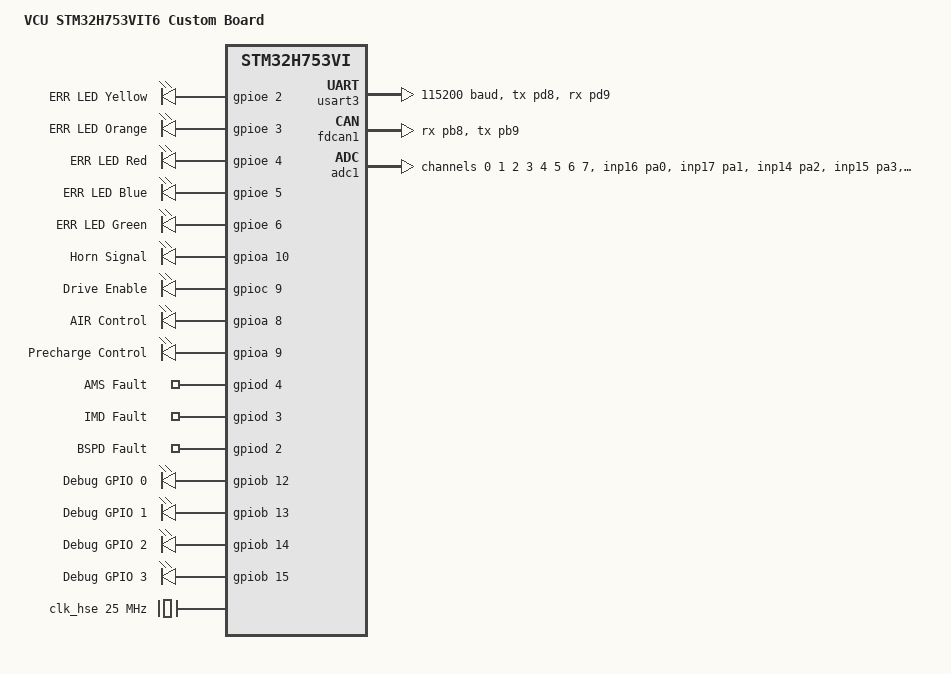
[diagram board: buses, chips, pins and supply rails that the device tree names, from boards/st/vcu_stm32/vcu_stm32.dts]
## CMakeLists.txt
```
# SPDX-License-Identifier: Apache-2.0
cmake_minimum_required(VERSION 3.20.0)

#generates compile_commands.json for clangd to LSP correctly. 
set(CMAKE_EXPORT_COMPILE_COMMANDS ON)

set_source_files_properties(src/*.cpp PROPERTIES LANGUAGE CXX)

set(BOARD_ROOT ${CMAKE_CURRENT_SOURCE_DIR})


find_package(Zephyr REQUIRED HINTS $ENV{ZEPHYR_BASE})
project(vcu)

# Add include/ directory to include paths
target_include_directories(app PRIVATE
    ${CMAKE_CURRENT_SOURCE_DIR}/include
)

# Gather all C and C++ source files under src/
file(GLOB_RECURSE APP_SOURCES
    ${CMAKE_CURRENT_SOURCE_DIR}/src/*.c
    ${CMAKE_CURRENT_SOURCE_DIR}/src/*.cpp
)

# Add sources to app target
target_sources(app PRIVATE ${APP_SOURCES})
```

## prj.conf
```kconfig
CONFIG_CAN=y
CONFIG_GPIO=y
CONFIG_ADC=y
CONFIG_LOG=y
CONFIG_LOG_MODE_IMMEDIATE=y
CONFIG_LOG_DEFAULT_LEVEL=3
CONFIG_LOG_BACKEND_FORMAT_TIMESTAMP=y
CONFIG_LOG_BACKEND_SHOW_COLOR=y
CONFIG_MAIN_STACK_SIZE=8192


CONFIG_CBPRINTF_FP_SUPPORT=y

CONFIG_CPP=y
CONFIG_STD_CPP2B=y
CONFIG_CPP_EXCEPTIONS=y
CONFIG_GLIBCXX_LIBCPP=y
CONFIG_REQUIRES_FULL_LIBCPP=y
CONFIG_CAN_STATS=y

# Keep your custom compiler flag:
CONFIG_COMPILER_OPT="-ftrack-macro-expansion=0"
CONFIG_THREAD_MONITOR=y
CONFIG_THREAD_STACK_INFO=y
CONFIG_HEAP_MEM_POOL_SIZE=16384
CONFIG_SYSTEM_WORKQUEUE_STACK_SIZE=2048
CONFIG_SYS_HEAP_RUNTIME_STATS=y
CONFIG_PRINTK=y  

CONFIG_THREAD_RUNTIME_STATS=y
CONFIG_DEBUG_OPTIMIZATIONS=y

CONFIG_SCHED_THREAD_USAGE=y
CONFIG_CPU_LOAD=y
CONFIG_STATS=y
CONFIG_REBOOT=y
CONFIG_ASSERT=y
CONFIG_ASSERT_LEVEL=2



# threading
CONFIG_MULTITHREADING=y 
CONFIG_NUM_COOP_PRIORITIES=127
CONFIG_NUM_PREEMPT_PRIORITIES=127
CONFIG_SCHED_SCALABLE=y


# CONFIG_SEGGER_SYSTEMVIEW=y
# CONFIG_TRACING=y
# # start tracing immediately on boot
# CONFIG_SEGGER_SYSTEMVIEW_BOOT_ENABLE=y  
# CONFIG_USE_SEGGER_RTT=y

# # Optional but useful

# # shows thread names instead of addresses
# CONFIG_THREAD_NAME=y   
# CONFIG_LOG_BACKEND_UART=n         
```

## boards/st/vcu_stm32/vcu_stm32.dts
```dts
/*
 * Copyright (c) 2025 VCU Team
 * SPDX-License-Identifier: Apache-2.0
 */

/dts-v1/;
#include <st/h7/stm32h753Xi.dtsi>
#include <st/h7/stm32h753zitx-pinctrl.dtsi>
#include <zephyr/dt-bindings/input/input-event-codes.h>

/ {
	model = "VCU STM32H753VIT6 Custom Board";
	compatible = "st,stm32h753vi";

	chosen {
		zephyr,console = &usart3;
		zephyr,shell-uart = &usart3;
		zephyr,sram = &sram0;
		zephyr,flash = &flash0;
		zephyr,dtcm = &dtcm;
		zephyr,canbus = &fdcan1;
	};

	leds {
		compatible = "gpio-leds";
		err_led_yellow: led_0 {
			gpios = <&gpioe 2 GPIO_ACTIVE_HIGH>;
			label = "ERR LED Yellow";
		};
		err_led_orange: led_1 {
			gpios = <&gpioe 3 GPIO_ACTIVE_HIGH>;
			label = "ERR LED Orange";
		};
		err_led_red: led_2 {
			gpios = <&gpioe 4 GPIO_ACTIVE_HIGH>;
			label = "ERR LED Red";
		};
		err_led_blue: led_3 {
			gpios = <&gpioe 5 GPIO_ACTIVE_HIGH>;
			label = "ERR LED Blue";
		};
		err_led_green: led_4 {
			gpios = <&gpioe 6 GPIO_ACTIVE_HIGH>;
			label = "ERR LED Green";
		};
	};

	vcu_signals {
		compatible = "gpio-leds";
		horn_signal: horn_sig {
			gpios = <&gpioa 10 GPIO_ACTIVE_HIGH>;
			label = "Horn Signal";
		};
		drive_enable: drive_en {
			gpios = <&gpioc 9 GPIO_ACTIVE_HIGH>;
			label = "Drive Enable";
		};
		air_ctrl: air_control {
			gpios = <&gpioa 8 GPIO_ACTIVE_HIGH>;
			label = "AIR Control";
		};
		prc_ctrl: prc_control {
			gpios = <&gpioa 9 GPIO_ACTIVE_HIGH>;
			label = "Precharge Control";
		};
	};

	fault_inputs {
		compatible = "gpio-keys";
		ams_fault: ams_fault_mcu {
			gpios = <&gpiod 4 GPIO_ACTIVE_HIGH>;
			label = "AMS Fault";
		};
		imd_fault: imd_fault_mcu {
			gpios = <&gpiod 3 GPIO_ACTIVE_HIGH>;
			label = "IMD Fault";
		};
		bspd_fault: bspd_fault_mcu {
			gpios = <&gpiod 2 GPIO_ACTIVE_HIGH>;
			label = "BSPD Fault";
		};
	};

	debug_gpios {
		compatible = "gpio-leds";
		debug_gpio_0: dbg_gpio_0 {
			gpios = <&gpiob 12 GPIO_ACTIVE_HIGH>;
			label = "Debug GPIO 0";
		};
		debug_gpio_1: dbg_gpio_1 {
			gpios = <&gpiob 13 GPIO_ACTIVE_HIGH>;
			label = "Debug GPIO 1";
		};
		debug_gpio_2: dbg_gpio_2 {
			gpios = <&gpiob 14 GPIO_ACTIVE_HIGH>;
			label = "Debug GPIO 2";
		};
		debug_gpio_3: dbg_gpio_3 {
			gpios = <&gpiob 15 GPIO_ACTIVE_HIGH>;
			label = "Debug GPIO 3";
		};
	};

	aliases {
		led0 = &err_led_yellow;
		led1 = &err_led_orange;
		led2 = &err_led_red;
		led3 = &err_led_blue;
		led4 = &err_led_green;
		horn = &horn_signal;
		drive-enable = &drive_enable;
		air-ctrl = &air_ctrl;
		prc-ctrl = &prc_ctrl;
	};
};

&clk_hse {
	clock-frequency = <DT_FREQ_M(25)>;  // 25 MHz crystal
	status = "okay";
};

&pll {
    div-m = <5>;      // 25 MHz / 5 = 5 MHz
    mul-n = <192>;    // 5 MHz × 192 = 960 MHz VCO
    div-p = <2>;      // 960 / 2 = 480 MHz
    div-q = <2>;      // 960 / 2 = 480 MHz
    div-r = <2>;      // 960 / 2 = 480 MHz
    clocks = <&clk_hse>;
    status = "okay";
};

&pll2 {
    div-m = <5>;      // 25 MHz / 5 = 5 MHz
    mul-n = <48>;     // 5 MHz × 48 = 240 MHz VCO
    div-p = <2>;      // 240 / 2 = 120 MHz
    div-q = <3>;      // 240 / 3 = 80 MHz (for FDCAN)
    div-r = <2>;      // 240 / 2 = 120 MHz
    clocks = <&clk_hse>;
    status = "okay";
};

&rcc {
    clocks = <&pll>;
    clock-frequency = <DT_FREQ_M(480)>;
    d1cpre = <1>;
    hpre = <2>;
    d1ppre = <2>;
    d2ppre1 = <2>;
    d2ppre2 = <2>;
    d3ppre = <2>;
};

/* Enable GPIO ports */
&gpioa {
	status = "okay";
};

&gpiob {
	status = "okay";
};

&gpioc {
	status = "okay";
};

&gpiod {
	status = "okay";
};

&gpioe {
	status = "okay";
};

&usart3 {
	pinctrl-0 = <&usart3_tx_pd8 &usart3_rx_pd9>;
	pinctrl-names = "default";
	current-speed = <115200>;
	status = "okay";
};

&fdcan1 {
	clocks = <&rcc STM32_CLOCK_BUS_APB1_2 0x00000100>,
		 <&rcc STM32_SRC_PLL2_Q FDCAN_SEL(2)>;
	pinctrl-0 = <&fdcan1_rx_pb8 &fdcan1_tx_pb9>;
	pinctrl-names = "default";
	status = "okay";
};

&fdcan2 {
	clocks = <&rcc STM32_CLOCK_BUS_APB1_2 0x00000200>,
		 <&rcc STM32_SRC_PLL2_Q FDCAN_SEL(2)>;
	pinctrl-0 = <&fdcan2_rx_pb5 &fdcan2_tx_pb6>;
	pinctrl-names = "default";
	status = "disabled";
};

&adc1 {
	pinctrl-0 = <&adc1_inp16_pa0 &adc1_inp17_pa1 
	             &adc1_inp14_pa2 &adc1_inp15_pa3
	             &adc1_inp18_pa4 &adc1_inp19_pa5
	             &adc1_inp3_pa6 &adc1_inp7_pa7>;
	pinctrl-names = "default";
	st,adc-clock-source = "SYNC";
	st,adc-prescaler = <4>;
	vref-mv = <3300>;
	status = "okay";

	#address-cells = <1>;
	#size-cells = <0>;

	channel@0 {
		reg = <0>;
		zephyr,gain = "ADC_GAIN_1";
		zephyr,reference = "ADC_REF_VDD_1";
		zephyr,acquisition-time = <ADC_ACQ_TIME_DEFAULT>;
		zephyr,resolution = <12>;
		zephyr,input-positive = <16>;  /* PA0 - INP16 */
	};

	channel@1 {
		reg = <1>;
		zephyr,gain = "ADC_GAIN_1";
		zephyr,reference = "ADC_REF_VDD_1";
		zephyr,acquisition-time = <ADC_ACQ_TIME_DEFAULT>;
		zephyr,resolution = <12>;
		zephyr,input-positive = <17>;  /* PA1 - INP17 */
	};

	channel@2 {
		reg = <2>;
		zephyr,gain = "ADC_GAIN_1";
		zephyr,reference = "ADC_REF_VDD_1";
		zephyr,acquisition-time = <ADC_ACQ_TIME_DEFAULT>;
		zephyr,resolution = <12>;
		zephyr,input-positive = <14>;  /* PA2 - INP14 */
	};

	channel@3 {
		reg = <3>;
		zephyr,gain = "ADC_GAIN_1";
		zephyr,reference = "ADC_REF_VDD_1";
		zephyr,acquisition-time = <ADC_ACQ_TIME_DEFAULT>;
		zephyr,resolution = <12>;
		zephyr,input-positive = <15>;  /* PA3 - INP15 */
	};

	channel@4 {
		reg = <4>;
		zephyr,gain = "ADC_GAIN_1";
		zephyr,reference = "ADC_REF_VDD_1";
		zephyr,acquisition-time = <ADC_ACQ_TIME_DEFAULT>;
		zephyr,resolution = <12>;
		zephyr,input-positive = <18>;  /* PA4 - INP18 */
	};

	channel@5 {
		reg = <5>;
		zephyr,gain = "ADC_GAIN_1";
		zephyr,reference = "ADC_REF_VDD_1";
		zephyr,acquisition-time = <ADC_ACQ_TIME_DEFAULT>;
		zephyr,resolution = <12>;
		zephyr,input-positive = <19>;  /* PA5 - INP19 */
	};

	channel@6 {
		reg = <6>;
		zephyr,gain = "ADC_GAIN_1";
		zephyr,reference = "ADC_REF_VDD_1";
		zephyr,acquisition-time = <ADC_ACQ_TIME_DEFAULT>;
		zephyr,resolution = <12>;
		zephyr,input-positive = <3>;   /* PA6 - INP3 */
	};

	channel@7 {
		reg = <7>;
		zephyr,gain = "ADC_GAIN_1";
		zephyr,reference = "ADC_REF_VDD_1";
		zephyr,acquisition-time = <ADC_ACQ_TIME_DEFAULT>;
		zephyr,resolution = <12>;
		zephyr,input-positive = <7>;   /* PA7 - INP7 */
	};
};
&pinctrl {
    adc1_inp16_pa0: adc1_inp16_pa0 {
        pinmux = <STM32_PINMUX('A', 0, ANALOG)>;
    };
    adc1_inp17_pa1: adc1_inp17_pa1 {
        pinmux = <STM32_PINMUX('A', 1, ANALOG)>;
    };
    adc1_inp14_pa2: adc1_inp14_pa2 {
        pinmux = <STM32_PINMUX('A', 2, ANALOG)>;
    };
    adc1_inp15_pa3: adc1_inp15_pa3 {
        pinmux = <STM32_PINMUX('A', 3, ANALOG)>;
    };
    adc1_inp18_pa4: adc1_inp18_pa4 {
        pinmux = <STM32_PINMUX('A', 4, ANALOG)>;
    };
    adc1_inp19_pa5: adc1_inp19_pa5 {
        pinmux = <STM32_PINMUX('A', 5, ANALOG)>;
    };
    adc1_inp3_pa6: adc1_inp3_pa6 {
        pinmux = <STM32_PINMUX('A', 6, ANALOG)>;
    };
    adc1_inp7_pa7: adc1_inp7_pa7 {
        pinmux = <STM32_PINMUX('A', 7, ANALOG)>;
    };
};

&flash0 {
	partitions {
		compatible = "fixed-partitions";
		#address-cells = <1>;
		#size-cells = <1>;

		boot_partition: partition@0 {
			label = "mcuboot";
			reg = <0x00000000 DT_SIZE_K(128)>;
		};
		slot0_partition: partition@20000 {
			label = "image-0";
			reg = <0x00020000 DT_SIZE_K(448)>;
		};
		slot1_partition: partition@90000 {
			label = "image-1";
			reg = <0x00090000 DT_SIZE_K(448)>;
		};
		storage_partition: partition@100000 {
			label = "storage";
			reg = <0x00100000 DT_SIZE_K(1024)>;
		};
	};
};
```

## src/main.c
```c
/*
 * Copyright (c) 2016 Intel Corporation
 *
 * SPDX-License-Identifier: Apache-2.0
 */

#include "CanInitializer.h"
#include <stdio.h>
#include <sys/_intsup.h>
#include <zephyr/drivers/gpio.h>
#include <zephyr/kernel.h>

/* 1000 msec = 1 sec */
#define SLEEP_TIME_MS 1000

#define DEBUGGING 0

// Placeholder values while we do not have real numbers (most likely same as 24 car)
const int ocThreshold = 1; // Open Circuit threshold
const int scThreshold = 2;  // Short Circuit threshold

// Pin Configuration NOT REAL VALUES
const int brake_switch_pin = 14;
const int brake_out_pin = 2;
const int error_out_pin = 9;
const int rtds_horn_pin = 21;
const int custom_pedal_pin = A14;


// Class for the pedals contains how to read pedal positions and check Open Circuit and Short Circuit faults
struct pedalSensor {
    const int inputPin;
    const int zeroPos;
    const int fullPos;
    const int onLedPin;
    const int ocLedPin;
    const int scLedPin;
}


float pedalSensorPercentage(pedalSensor pedal) const {
    float percent = ((float) pedal.analogRead(pedal.inputPin) - pedal.zeroPos) / (pedal.fullPos - pedal.zeroPos);
            if (percent < 0.0f) {
                percent = 0.0f;
            } else if (percent > 1.0f) {
                percent = 1.0f;
            }
            return percent;
}

// Checks for a Short Circuit by reading the value of the sensor and comparing it to the threshold defined above
bool checkOpenCircuit(pedalSensor pedal) const {
    bool isOpenCircuit = pedal.analogRead(pedal.inputPin) < pedal.ocThreshold;
    digitalWrite(pedal.ocLedPin, isOpenCircuit);
    #ifdef DEBUGGING
    printf("Pedal %d: Open Circuit %s\n", pedal.inputPin, isOpenCircuit ? "detected" : "not detected");
    #endif
    return isOpenCircuit;
}

// Checks for a Short Circuit by reading the value of the sensor and comparing it to the threshold defined above
bool checkShortCircuit(PedalSensor pedal) const {
    bool isShortCircuit = analogRead(pdeal.inputPin) > pedal.scThreshold;
    digitalWrite(pedal.scLedPin, isShortCircuit);
    #ifdef DEBUGGING
    printf("Pedal %d: Short Circuit %s\n", pedal.inputPin, isShortCircuit ? "detected" : "not detected");
    #endif
    return isShortCircuit;
}

// Checks both faults for a pedal
bool checkRangeFaults(pedalSensor pedal) const {
      return checkOpenCircuit(pedal) || checkShortCircuit(pedal);
    }

// Pedal sensor1 WRITE DOWN RIGHT OR LEFT WHEN WE FIGURE IT OUT also update values
const pedalSensor p1 = {
    0,
    0,
    0,
    0,
    0,
    0
};

// Pedal sensor2 WRITE DOWN RIGHT OR LEFT WHEN WE FIGURE IT OUT also update values
const pedalSensor p2 = {
    0,
    0,
    0,
    0,
    0,
    0
};

const pedalSensor[] pedals = [p1, p2];

//******
// This would be where pedal map was defined with old apps
//  */


// By rules this will trip when
bool pedalAgreementFault() {

}



/* The devicetree node identifier for the "led0" alias. */

/*
 * A build error on this line means your board is unsupported.
 * See the sample documentation for information on how to fix this.
 */

int main(void) {}
```

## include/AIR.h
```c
#pragma once
#include "gpio.h"
#include "VSM_faults.h"

//    gpioa_ = DEVICE_DT_GET(DT_NODELABEL(gpioa));

class contactor {
  public:
    contactor();
    ~contactor() = default;

    [[nodiscard("Do not discard Contactor logic returns")]] int init();
    [[nodiscard("Do not discard Contactor logic returns")]] VSM_FAULTS arm();
    [[nodiscard("Do not discard Contactor logic returns")]] VSM_FAULTS disarm();
    [[nodiscard("Do not discard Contactor logic returns")]] VSM_FAULTS close();
    [[nodiscard("Do not discard Contactor logic returns")]] int open();
    [[nodiscard("Do not discard Contactor logic returns")]] bool get_armed() const;
    [[nodiscard("Do not discard Contactor logic returns")]] bool get_closed() const;
    [[nodiscard("Do not discard Contactor logic returns")]] VSM_FAULTS throw_fault();

  private:
    bool is_armed = false;
    bool is_closed = false;
    bool is_faulted = false;
    const struct device *gpioa_ = nullptr;

    GpioPin gpio_ref;
};
```

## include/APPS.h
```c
#pragma once
#include <zephyr/kernel.h>
#include <zephyr/sys/sys_heap.h>
#include <zephyr/sys/mem_stats.h>
#include <zephyr/debug/cpu_load.h>
#include "PedalSensors.h"
#include "hardware.h"
#include "vehicle_state.h"

class APPS_THREAD
{
  private:
    VehicleState *vehicle;

    static constexpr int APPS_THREAD_STACK_SIZE = 1024;
    static constexpr int APPS_THREAD_PRIORITY = 5;
    static constexpr int APPS_PERIOD_MS = 100;

    struct k_thread apps_thread_;
    k_thread_stack_t *apps_stack_;
    static VehicleState *vehicle_;
    static Hardware *hardware_;

    int64_t agreement_fault_deadline_ = 0;
    bool brake_fault_latched_ = false;

    static void apps_main_loop(void *p1, void *p2, void *p3);

    void update();
    float readPedalPercent(uint16_t raw, uint16_t low, uint16_t range, PEDAL_SLOPE_DIRECTION slope);
    bool checkOpenCircuit(uint16_t raw, uint16_t low_threshold);
    bool checkShortCircuit(uint16_t raw, uint16_t high_threshold);
    bool checkPedalAgreement(float p1_pct, float p2_pct);
    bool checkBrakeOverlap(float avg_pct);

  public:
    APPS_THREAD(VehicleState *vehicle);

    int Initialize(Hardware *hw);
};
```

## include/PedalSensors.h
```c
// #pragma once

// #include <zephyr/device.h>
// #include <zephyr/devicetree.h>
// #include <zephyr/drivers/can.h>
// #include <zephyr/kernel.h>
// #include <zephyr/logging\log.h>
// #include <zephyr/types.h>

// class PedalSensor
// {
//   private:
//     const int inputPin = 0;
//     const int zeroPos = 0;
//     const int fullPos = 0;
//     const int onLedPin = 0;
//     const int ocLedPin = 0;
//     const int scLedPin = 0;

//     float pedalPercentage();
//     bool checkOpenCircuit();
//     bool checkShortCircuit();
//     bool checkRangeFaults();

//   public:
// };

// bool pedalAgreementFault(PedalSensor p1, PedalSensor p2);
// bool brakeFault(PedalSensor p1, PedalSensor p2);
// bool checkAllFaults(PedalSensor p1, PedalSensor p2);
```

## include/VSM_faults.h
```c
#pragma once

enum class VSM_FAULTS : int
{
    NO_FAULT = 0,
    FAULTED = 4, // used when fault type is unknown but we know that a fault has occured
    INVERTER_VOLTAGE_SKEW = 12,
    PRECHARGING_TOOK_TOO_LONG = 13,
    BUS_VOLTAGE_DROPPED_AFTER_PRECHARGING = 14,
    IMD_FAULT = 1,
    AMS_FAULT = 2,
    BSPD_FAULT = 3,
    CONTACTOR_ATTEMPT_CLOSE_BEFORE_ARM = 21,
    CONTACTOR_FAULTED = 22,
    CONTACTOR_ATTEMPT_ARM_WHILE_FAULTED = 23,
};
```

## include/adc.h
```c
// zephyr_adc.h
#pragma once
#include <zephyr/drivers/adc.h>

class AdcChannel {
  private:
    const struct device *adc_dev_;
    struct adc_channel_cfg channel_cfg_;
    struct adc_sequence sequence_;
    int16_t buffer_[1];
    uint8_t channel_id_;
    int resolution_;
    float vref_;

    // Voltage divider: 3.3k top, 6.8k bottom
    static constexpr float DIVIDER_RATIO = (3.3f + 6.8f) / 6.8f; // 1.485
    static constexpr size_t BUFFER_SIZE = sizeof(buffer_);

  public:
    AdcChannel();

    int init(const struct device *adc_dev, uint8_t channel_id, int resolution = 12, float vref = 3.3f);

    float read_voltage();
    int16_t read_raw();
    float get_divider_ratio();

    // For testing
    void set_test_voltage(float voltage);
};
```

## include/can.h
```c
#pragma once
#include <zephyr/drivers/can.h>
#include <zephyr/kernel.h>

#include "vehicle_state.h"
#include "can_decoders/dti_decoders.h"

using frame_handler_t = void (*)(const struct can_frame *frame, volatile VehicleState *vehicle);

class CanBus
{
  private:
    const struct device *dev_;
    uint32_t bitrate_;
    uint32_t sample_point_;
    bool initialized_;
    bool started_;
    VehicleState *vehicle_;
    uint32_t frames_rec;
    uint32_t frames_sent;

    static void can1_rx_isr(const struct device *dev, struct can_frame *frame, void *self_ptr);
    void dispatch(const struct can_frame *frame);
    int register_handlers();

    frame_handler_t bus_handlers[2048]{nullptr};

  public:
    CanBus(VehicleState *vehicle);

    int init(const struct device *dev, uint32_t bitrate = 1000000, uint32_t sample_point = 875);
    int start();
    int stop();

    int send(const struct can_frame *frame, k_timeout_t timeout, can_tx_callback_t callback = nullptr,
             void *user_data = nullptr);

    int add_rx_filter_msgq(struct k_msgq *msgq, const struct can_filter *filter);
    void remove_rx_filter(int filter_id);

    int get_state(enum can_state *state) const;
    int set_mode(can_mode_t mode);
    can_mode_t get_mode() const;

    bool is_initialized() const
    {
        return initialized_;
    }
    bool is_started() const
    {
        return started_;
    }

    const struct device *get_device() const
    {
        return dev_;
    }
};
```

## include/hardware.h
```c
// hardware.h
#pragma once

#include "adc.h"
#include "can.h"
#include "gpio.h"
#include "vehicle_state.h"
#include <zephyr/device.h>
#include <zephyr/devicetree.h>
#include <zephyr/drivers/adc.h>

class Hardware {
  public:
    Hardware(VehicleState *state);
    // ADC Channels (8 total) - referenced as chan0..chan7
    AdcChannel adc_chan0; // PA0  -> ADC1_INP16
    AdcChannel adc_chan1; // PA1  -> ADC1_INP17
    AdcChannel adc_chan2; // PA2  -> ADC1_INP14
    AdcChannel adc_chan3; // PA3  -> ADC1_INP15
    AdcChannel adc_chan4; // PA4  -> ADC1_INP18
    AdcChannel adc_chan5; // PA5  -> ADC1_INP19
    AdcChannel adc_chan6; // PA6  -> ADC1_INP3
    AdcChannel adc_chan7; // PA7  -> ADC1_INP7

    // Error LEDs (PE2-PE6)
    GpioPin led_yellow; // PE2 - led0
    GpioPin led_orange; // PE3 - led1
    GpioPin led_red;    // PE4 - led2
    GpioPin led_blue;   // PE5 - led3
    GpioPin led_green;  // PE6 - led4

    // Control signals
    GpioPin horn_signal;  // PA10
    GpioPin drive_enable; // PC9
    GpioPin air_ctrl;     // PA8
    GpioPin prc_ctrl;     // PA9

    // Fault inputs (active high from shutdown circuit)
    GpioPin ams_fault;  // PD4
    GpioPin imd_fault;  // PD3
    GpioPin bspd_fault; // PD2

    // Debug GPIOs (PB12-PB15)
    GpioPin debug_gpio[4];

    CanBus can1;

    int init();
    uint16_t getADCValue(uint8_t channel);

  private:
    VehicleState *vehicle;
    const struct device *adc_dev_ = nullptr;
    const struct device *gpioa_ = nullptr;
    const struct device *gpiob_ = nullptr;
    const struct device *gpioc_ = nullptr;
    const struct device *gpiod_ = nullptr;
    const struct device *gpioe_ = nullptr;
    const struct device *can1_dev = nullptr;
    int initializeADCs();
    int initializeGPIOs();
    int initializeCANs();
};
```

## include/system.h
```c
#pragma once
#include <zephyr/kernel.h>
#include <zephyr/sys/sys_heap.h>
#include <zephyr/sys/mem_stats.h>
#include <zephyr/debug/cpu_load.h>
#include "hardware.h"

class System {
private:
    static constexpr size_t HEAP_SIZE = 2048;
    static constexpr int DIAG_THREAD_STACK_SIZE = 1024;
    static constexpr int DIAG_THREAD_PRIORITY = 5;
    static constexpr int DIAG_PERIOD_MS = 1000;
    
    struct k_heap heap_;
    struct k_thread diag_thread_;
    k_thread_stack_t* diag_stack_;
    
    Hardware* hardware_;
    bool initialized_;
    bool diagnostics_running_;
    
    static void diagnostics_thread_entry(void* p1, void* p2, void* p3);
    void diagnostics_loop();
    
public:
    System();
    
    int init();
    int start_diagnostics(Hardware* hw);
    void stop_diagnostics();
    
    void* heap_alloc(size_t size, k_timeout_t timeout);
    void heap_free(void* ptr);
    int get_heap_stats(struct sys_memory_stats* stats);
    
    uint64_t get_uptime_ms() const;
    uint8_t get_cpu_load() const;
    
    bool is_initialized() const { return initialized_; }
};
```

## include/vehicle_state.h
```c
// vehicle_state.h
#pragma once
#include <array>
#include <zephyr/kernel.h>
#include <zephyr/drivers/can.h>
#include <optional>
#include <atomic>
#include <bitset>
enum class VSM_STATES {
    // Default state that is initialized to, not expected to return to unless terminal fault
    POST = 0,

    // Wait state with PREHARGE relay closed, waiting to see bus voltage rise when SC closes
    READY = 1,

    // Interim State when bus voltage rises. IF bus voltage doenst rise fast enough, terminal fault is thrown
    PRECHARGING = 2,

    // Post PRECHARGING, close AIR+, and verify that system is nominal
    // Critical safety section
    HV_ACTIVE = 3,

    // State to wait for driver to push BRAKE + START button
    ARMED = 4,

    // Interim state where buzzer is played and RTDS checks are completed
    RTDS = 5,

    // DRIVE mode, nominal with torque commands finally enabled
    DRIVE = 6,

    // FAULT mode, vehicle enters safe state with DRIVE disabled,Torque zeroed and all HV contactors opened
    FAULT = 7,

    // If HV gets disabled without AMS, IMD or BSPD signal being thrown, we enter SHUTDOWN, which then resets to READY
    // state after vehicle reaches 0 speed, 0 intermediate bus voltage. CAR must RETURN TO startup state, akin to
    // sys_reboot() AIRs CONTACTORS MUST BE RESET
    SHUTDOWN = 8,
};

enum Corner : uint8_t {
    FRONT_LEFT = 0,
    FRONT_RIGHT = 1,
    REAR_LEFT = 2,
    REAR_RIGHT = 3,
    NUM_CORNERS = 4
};

struct DTI_Inverter {

    static constexpr int16_t pole_pairs = 4;
    static constexpr int16_t max_ac_current_x10 = 30; // 3 A_pk — tune per motor

    uint8_t node_id;

    // Packet 0x1F: General Data 6
    uint8_t control_mode;    // 1=Speed,2=Current,3=CurrBrake,4=Pos,7=None
    int16_t target_iq;       // [A_pk * 10]
    uint16_t motor_position; // [deg * 10]
    uint8_t is_motor_still;  // 1=still, 0=rotating

    // Packet 0x20: General Data 1
    int32_t erpm;          // [ERPM]
    int16_t duty_cycle;    // [% * 10]
    int16_t input_voltage; // [V]

    // Packet 0x21: General Data 2
    int16_t ac_current; // [A_pk * 10]
    int16_t dc_current; // [A_dc * 10]

    // Packet 0x22: General Data 3
    int16_t controller_temp; // [°C * 10]
    int16_t motor_temp;      // [°C * 10]
    uint8_t fault_code;      // 0x00=None ... 0x0A=AnalogErr

    // Packet 0x23: General Data 4
    int32_t id; // [A_pk * 100]
    int32_t iq; // [A_pk * 100]

    // Packet 0x24: General Data 5
    int8_t throttle_signal; // [%]
    int8_t brake_signal;    // [%]

    bool digital_in1;
    bool digital_in2;
    bool digital_in3;
    bool digital_in4;
    bool digital_out1;
    bool digital_out2;
    bool digital_out3;
    bool digital_out4;

    // INPUT FROM INVERTER
    bool drive_enable;

    bool limit_cap_temp;
    bool limit_dc_current;
    bool limit_drive_enable;
    bool limit_igbt_accel_temp;
    bool limit_igbt_temp;
    bool limit_input_voltage;
    bool limit_motor_accel_temp;
    bool limit_motor_temp;
    bool limit_rpm_min;
    bool limit_rpm_max;
    bool limit_power;

    uint8_t can_map_version;

    // Packet 0x25: Configured and Available AC Currents
    int16_t max_ac_current;       // [A_pk * 10]
    int16_t avail_max_ac_current; // [A_pk * 10]
    int16_t min_ac_current;       // [A_pk * 10]
    int16_t avail_min_ac_current; // [A_pk * 10]

    // Packet 0x26: Configured and Available DC Currents
    int16_t max_dc_current;       // [A_dc * 10]
    int16_t avail_max_dc_current; // [A_dc * 10]
    int16_t min_dc_current;       // [A_dc * 10]
    int16_t avail_min_dc_current; // [A_dc * 10]

    uint64_t last_rx_time_ms;

    // TX command fields — written by control task, read by encoders
    int16_t cmd_ac_current;   // [A_pk * 10], positive = motoring, negative = regen
    uint8_t cmd_drive_enable; // 0 = disabled, 1 = enabled
};

struct Analog {
    uint16_t channels[8] = {};
    static constexpr float VREF = 5.0f;
    static constexpr float MAX_COUNT = 4096.0f;

    float get_voltage(int channel) const volatile {
        return (channels[channel] / MAX_COUNT) * VREF;
    }
};

enum APPS_ERRORS {
    PEDAL_AGREEMENT = 0,
    SHORT_CIRCUIT_P1 = 1,
    SHORT_CIRCUIT_P2 = 2,
    OPEN_CIRCUIT_P1 = 3,
    OPEN_CIRCUIT_P2 = 4,
    BRAKE_OVERLAP = 5,
    NUM_ERRORS = 8,
};

enum PEDAL_SLOPE_DIRECTION {
    POSITIVE,
    NEGATIVE
};

namespace APPS_CONSTEXPRS {
static constexpr uint16_t calculateRange(uint16_t highThreshold, uint16_t lowThreshold) {
    return (highThreshold > lowThreshold) ? (highThreshold - lowThreshold) : (lowThreshold - highThreshold);
}

static constexpr PEDAL_SLOPE_DIRECTION PEDAL_SLOPE_DIRECTION(uint16_t highThreshold, uint16_t lowThreshold) {
    return (highThreshold > lowThreshold) ? POSITIVE : NEGATIVE;
}

} // namespace APPS_CONSTEXPRS

struct APPS_data {
    bool errors[APPS_ERRORS::NUM_ERRORS];
    bool faulted;

    // ADC channel mapping
    static constexpr int pedal1_adc_channel_num = 0;
    static constexpr int pedal2_adc_channel_num = 1;
    static constexpr int brake_main_adc_channel_num = 0;

    // Drive calibration: ADC values that map to 0% (rest) and 100% (full press).
    // Used for percent calc only — must lie between the fault thresholds.
    static constexpr uint16_t pedal1_drive_rest = 2750;
    static constexpr uint16_t pedal2_drive_rest = 2750;
    static constexpr uint16_t pedal1_drive_full = 2050;
    static constexpr uint16_t pedal2_drive_full = 2050;

    // Fault thresholds: absolute ADC bounds — outside this band means a wiring fault.
    // Must bracket the drive range with margin so a normal sweep stays inside.
    static constexpr uint16_t pedal1_fault_low_adc = 1900; // open  circuit if raw < this
    static constexpr uint16_t pedal2_fault_low_adc = 1900;
    static constexpr uint16_t pedal1_fault_high_adc = 2900; // short circuit if raw > this
    static constexpr uint16_t pedal2_fault_high_adc = 2900;

    // other calibration values
    static constexpr float agreement_threshold = 0.10f; // 10% disagreement
    static constexpr int agreement_timeout_ms = 100;
    static constexpr float brake_on_threshold = 0.25f;  // throttle % to latch brake fault
    static constexpr float brake_off_threshold = 0.05f; // throttle % to clear brake fault

    // constexpr values that are calculated at compiletime
    static constexpr uint16_t pedal1_range_width =
        APPS_CONSTEXPRS::calculateRange(pedal1_drive_full, pedal1_drive_rest);
    static constexpr uint16_t pedal2_range_width =
        APPS_CONSTEXPRS::calculateRange(pedal2_drive_full, pedal2_drive_rest);
    static constexpr PEDAL_SLOPE_DIRECTION pedal1_slope_direction =
        APPS_CONSTEXPRS::PEDAL_SLOPE_DIRECTION(pedal1_drive_full, pedal1_drive_rest);
    static constexpr PEDAL_SLOPE_DIRECTION pedal2_slope_direction =
        APPS_CONSTEXPRS::PEDAL_SLOPE_DIRECTION(pedal2_drive_full, pedal2_drive_rest);

    // IN PERCENTAGE, translation of input voltages to output command AFTER APPS processing
    float commandedTorquePercentage;
    float pedal1_percent;
    float pedal2_percent;
    float average_pedal_percent;
    bool torqueVectoringEnabled = false;
};

struct BMS_data {

    static constexpr int NUM_CELLS = 72;

    struct CellData {
        uint16_t voltage;
        uint16_t open_voltage;
        uint16_t resistance;
        uint8_t balancing;
    };

    // --- 0x6B0 (8 ms) ---
    int16_t pack_current;       // × 0.1  A  (signed)
    uint16_t pack_inst_voltage; // × 0.1  V
    uint8_t pack_soc;           // × 0.5  %

    // I/O flags (byte 5)
    uint8_t multipurpose_input_2;
    uint8_t multipurpose_input_3;
    uint8_t multipurpose_output_2;
    uint8_t multipurpose_output_3;
    uint8_t multipurpose_output_4;
    uint8_t multipurpose_enable;
    uint8_t multipurpose_output;

    // Relay flags (byte 6)
    uint8_t discharge_relay;
    uint8_t charge_relay;
    uint8_t charger_safety;
    uint8_t error_mil_output;
    uint8_t multipurpose_input;
    uint8_t constant_1;
    uint8_t ready_power_signal;
    uint8_t charge_power_signal;

    // --- 0x6B1 (104 ms) ---
    uint16_t pack_dcl;       // × 1    A
    uint8_t pack_ccl;        // × 1    A
    int8_t high_temperature; // × 1    °C
    int8_t low_temperature;  // × 1    °C

    // --- 0x3E8 (104 ms) ---
    uint8_t low_cell_voltage_id;
    uint16_t low_cell_voltage;     // × 0.0001 V
    uint16_t low_opencell_voltage; // × 0.0001 V
    uint16_t low_cell_resistance;  // × 0.01   mOhm

    // --- 0x3E9 (1008 ms) ---
    uint8_t high_cell_voltage_id;
    uint16_t high_cell_voltage; // × 0.0001 V
    uint16_t high_opencell_id;
    uint16_t high_cell_resistance; // × 0.01   mOhm

    // --- 0x3F0 (96 ms) ---
    uint8_t pack_soc_ext;              // × 0.5  %
    uint16_t pack_inst_voltage_ext;    // × 0.1  V
    uint16_t pack_open_voltage = 2800; // × 0.1  V
    uint16_t pack_current_ext;         // × 0.1  A

    // --- 0x3F1 (1008 ms) ---
    uint16_t pack_resistance;  // × 0.001  Ohm
    uint16_t avg_cell_voltage; // × 0.0001 V

    // --- 0x3F2 (1000 ms) ---
    uint16_t adaptive_total_capacity; // × 0.1  Ah
    uint16_t adaptive_amphours;       // × 0.1  Ah
    uint8_t adaptive_soc;             // × 0.5  %

    // --- 0x3F3 (1000 ms) ---
    uint16_t dtc_flags_1;
    uint16_t dtc_flags_2;

    // --- 0x3F4 (1008 ms) ---
    uint16_t pack_dcl_ext; // × 1  A
    uint16_t current_limits_status;

    // --- 0x3F5 (8 ms) ---
    uint16_t pack_current_fast; // × 0.1  A

    // --- 0x200 cell broadcast (12 ms, round-robin) ---

    CellData cells[NUM_CELLS];

    int64_t last_cell_rx_time_ms;

    // General heartbeat
    int64_t last_rx_time_ms;
};

struct VSM_Data {

    static constexpr float nominal_bus_votlage = 280;
    static constexpr int RTDS_sound_length = 20;

    /**
     * @brief maximum voltage allowed across all inverters without throwing critical fault
     *
     */
    static constexpr float max_inverter_voltage_delta = 100;

    /**
     * @brief maximum time that precharging can sequence before a critical fault is thrown
     *
     */
    static constexpr float max_precharging_time = 3000;

    /**
     * @brief Calculated an estimation of the pack resistance, can be used to infer the expected voltage AT the
     * inverter terminals. This can then be used to figure out if the AIRs are opened or not even at runtime when
     * the car is not stopped and current != 0
     */
    static constexpr float estimated_pack_resistance = 0.32f;
    int64_t precharging_start_time = 0;

    int64_t RTDS_start_time = 0;

    float dc_link_voltage = 0;

    /**
     * @brief Calculated currents summed from all four inverter DC current inputs
     *
     */
    std::atomic<float> inverter_current_summed = 0;
    float estimated_link_voltage = 0;

    std::bitset<64> FAULTS;
};

// struct that provides access to sub  Interface structs that house publicly accessible data to whole program.
// classes that interact with vehicle state should refer to this struct as source of truth
class VehicleState {
  public:
    DTI_Inverter INVERTERS[Corner::NUM_CORNERS];
    Analog analogIf;
    APPS_data APPSIf;
    BMS_data BMSIf;
    const std::atomic<VSM_STATES> *VSM_STATE = nullptr;
    const VSM_Data *VSM_If = nullptr;

  private:
};
```

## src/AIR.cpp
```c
#include "AIR.h"
#include "threads/VSM_task.h"
#include "zephyr/drivers/gpio.h"
#include "zephyr/logging/log.h"
#include "zephyr/sys/__assert.h"

#include <tuple>
#include <utility>

LOG_MODULE_REGISTER(contactor);

contactor::contactor() : gpioa_(DEVICE_DT_GET(DT_NODELABEL(gpioa))) {
}

int contactor::init() {
    // hardcoded for AIR+ ctrl pin on VCU v2 2026
    int code = gpio_ref.init(gpioa_, 8, GPIO_OUTPUT_LOW);

    return code;
}

VSM_FAULTS contactor::arm() {

    if (is_faulted) {
        LOG_ERR("Attempt to arm Contactor while Faulted");
        return VSM_FAULTS::CONTACTOR_ATTEMPT_ARM_WHILE_FAULTED;
    }

    LOG_WRN("Contactor Armed");
    is_armed = true;
    return VSM_FAULTS::NO_FAULT;
}

VSM_FAULTS contactor::disarm() {

    if (is_closed) {
        gpio_ref.set(false);
        is_closed = false;
        LOG_ERR("Contactor Disarmed before Opening. Contactor still opened and disarmed");
    }

    is_armed = false;
    return VSM_FAULTS::NO_FAULT;
}

int contactor::open() {
    is_armed = false;
    gpio_ref.set(false);
    LOG_INF("Contactor opened");
    is_closed = false;

    return 0;
}

bool contactor::get_armed() const {
    return is_armed;
}

bool contactor::get_closed() const {
    return is_closed;
}

VSM_FAULTS contactor::close() {

    if (!is_armed) {
        LOG_ERR("Attempted to close contactor before arming. Not Allowed");
        std::ignore = this->throw_fault();
        return (VSM_FAULTS::CONTACTOR_ATTEMPT_CLOSE_BEFORE_ARM);
    }
    if (is_faulted) {
        LOG_ERR("Contactor is Faulted, Cannot close Contactor after fault");
        return VSM_FAULTS::CONTACTOR_FAULTED;
    }
    gpio_ref.set(true);
    LOG_INF("Contactor Closed ");
    is_armed = false;
    is_closed = true;
    return VSM_FAULTS::NO_FAULT;
}

VSM_FAULTS contactor::throw_fault() {
    LOG_ERR("Contactor has been placed into fault state. Cannot be cleared without restarting vehicle");
    std::ignore = this->open();
    is_faulted = true;

    return VSM_FAULTS::CONTACTOR_FAULTED;
}
```

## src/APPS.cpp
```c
#include "APPS.h"
#include "hardware.h"
#include "vehicle_state.h"
#include "zephyr/kernel.h"
#include <zephyr/logging/log.h>

LOG_MODULE_REGISTER(APPS, LOG_LEVEL_INF);

// Define diagnostics thread stack
K_THREAD_STACK_DEFINE(apps_stack, 1024);

APPS_THREAD::APPS_THREAD(VehicleState *vehicle)
{
    vehicle_ = vehicle;
}

[[nodiscard]] int APPS_THREAD::Initialize(Hardware *hw)
{
    LOG_INF("Initializing APPS Thread");

    if (!hw)
    {
        LOG_ERR("Hardware pointer is NULL");
        return -2;
    }

    hardware_ = hw;

    k_thread_create(&apps_thread_, apps_stack, APPS_THREAD_STACK_SIZE, apps_main_loop, this, NULL, NULL,
                    K_PRIO_PREEMPT(APPS_THREAD_PRIORITY), K_FP_REGS, K_MSEC(10));

    LOG_INF("APPS thread started");
    return 0;
}

void APPS_THREAD::apps_main_loop(void *p1, void *p2, void *p3)
{
    APPS_THREAD *self = static_cast<APPS_THREAD *>(p1);
    LOG_INF("ENTERED APPS THREAD");
    while (1)
    {
        self->update();
        k_msleep(100);
    }
}

void APPS_THREAD::update()
{
    APPS_data &apps = vehicle_->APPSIf;
    uint16_t &pedal1raw = vehicle_->analogIf.channels[vehicle_->APPSIf.pedal1_adc_channel_num];
    uint16_t &pedal2raw = vehicle_->analogIf.channels[vehicle_->APPSIf.pedal2_adc_channel_num];

    pedal1raw = hardware_->getADCValue(vehicle_->APPSIf.pedal1_adc_channel_num);
    pedal2raw = hardware_->getADCValue(vehicle_->APPSIf.pedal2_adc_channel_num);

    apps.errors[OPEN_CIRCUIT_P1] = checkOpenCircuit(pedal1raw, APPS_data::pedal1_low_threshold);
    apps.errors[OPEN_CIRCUIT_P2] = checkOpenCircuit(pedal2raw, APPS_data::pedal2_low_threshold);
    apps.errors[SHORT_CIRCUIT_P1] = checkShortCircuit(pedal1raw, APPS_data::pedal1_high_threshold);
    apps.errors[SHORT_CIRCUIT_P2] = checkShortCircuit(pedal2raw, APPS_data::pedal2_high_threshold);

    bool range_fault = apps.errors[OPEN_CIRCUIT_P1] || apps.errors[OPEN_CIRCUIT_P2] || apps.errors[SHORT_CIRCUIT_P1] ||
                       apps.errors[SHORT_CIRCUIT_P2];

    apps.pedal1_percent = readPedalPercent(pedal1raw, APPS_data::pedal1_low_threshold, APPS_data::pedal1_range_width,
                                           APPS_data::pedal1_slope_direction);
    apps.pedal2_percent = readPedalPercent(pedal2raw, APPS_data::pedal2_low_threshold, APPS_data::pedal2_range_width,
                                           APPS_data::pedal2_slope_direction);

    apps.errors[PEDAL_AGREEMENT] = checkPedalAgreement(apps.pedal1_percent, apps.pedal2_percent);

    float avg_pct = (apps.pedal1_percent + apps.pedal2_percent) / 2.0f;
    apps.errors[BRAKE_OVERLAP] = checkBrakeOverlap(avg_pct);

    apps.faulted = range_fault || apps.errors[PEDAL_AGREEMENT] || apps.errors[BRAKE_OVERLAP];

    apps.commandedTorquePercentage = apps.faulted ? 0.0 : (double)avg_pct;

    if (apps.faulted)
    {
        LOG_WRN("APPS fault active — torque command zeroed");
    }
}

float APPS_THREAD::readPedalPercent(uint16_t raw, uint16_t low, uint16_t range, PEDAL_SLOPE_DIRECTION slope)
{
    float pct;
    if (slope == POSITIVE)
    {
        pct = (double)(raw - low) / (double)range;
    }
    else
    {
        pct = (double)(low - raw) / (double)range;
    }

    if (pct < 0.0f)
    {
        pct = 0.0f;
    }
    if (pct > 1.0f)
    {
        pct = 1.0f;
    }

    return pct;
}

bool APPS_THREAD::checkOpenCircuit(uint16_t raw, uint16_t low_threshold)
{
    return raw < low_threshold;
}

bool APPS_THREAD::checkShortCircuit(uint16_t raw, uint16_t high_threshold)
{
    return raw > high_threshold;
}

bool APPS_THREAD::checkPedalAgreement(float p1_pct, float p2_pct)
{
    if (fabsf(p1_pct - p2_pct) > APPS_data::agreement_threshold)
    {
        if (agreement_fault_deadline_ == 0)
        {
            agreement_fault_deadline_ = k_uptime_get() + APPS_data::agreement_timeout_ms;
        }
        else if (k_uptime_get() >= agreement_fault_deadline_)
        {
            LOG_WRN("Pedal agreement fault: p1=%.2f p2=%.2f", (double)p1_pct, (double)p2_pct);
            return true;
        }
    }
    else
    {
        agreement_fault_deadline_ = 0;
    }
    return false;
}

bool APPS_THREAD::checkBrakeOverlap(float avg_pct)
{
    // TODO: wire up brake switch GPIO from hardware_
    bool brake_pressed = false; // hardware_->brake_switch.read();

    if (avg_pct > APPS_data::brake_on_threshold && brake_pressed)
    {
        brake_fault_latched_ = true;
        LOG_WRN("Brake overlap fault latched");
    }
    if (brake_fault_latched_ && avg_pct < APPS_data::brake_off_threshold)
    {
        brake_fault_latched_ = false;
        LOG_INF("Brake overlap fault cleared");
    }
    return brake_fault_latched_;
}
```

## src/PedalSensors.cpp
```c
#include <cmath>
#include <cstdint>
#include <zephyr/drivers/gpio.h>
#include <zephyr/kernel.h> // for k_uptime_get()

#include <zephyr/device.h>
#include <zephyr/devicetree.h>
#include <zephyr/drivers/can.h>
#include <zephyr/kernel.h>
#include <zephyr/logging\log.h>
#include <zephyr/types.h>

#include "PedalSensors.h"
#include <stdio.h>

// float PedalSensor::pedalPercentage() const
// {
//     float percent = ((float)analogRead(inputPin) - zeroPos) / (fullPos - zeroPos);
//     if (percent < 0.0f)
//     {
//         percent = 0.0f;
//     }
//     else if (percent > 1.0f)
//     {
//         percent = 1.0f;
//     }
//     return percent;
// }

// // Checks for a Short Circuit by reading the value of the sensor and comparing
// // it to the threshold defined above
// bool PedalSensor::checkOpenCircuit() const
// {
//     bool isOpenCircuit = analogRead(inputPin) < ocThreshold;
//     digitalWrite(ocLedPin, isOpenCircuit);
// #ifdef DEBUGGING
//     printf("Pedal %d: Open Circuit %s\n", inputPin, isOpenCircuit ? "detected" : "not detected");
// #endif
//     return isOpenCircuit;
// }

// // Checks for a Short Circuit by reading the value of the sensor and comparing
// // it to the threshold defined above
// bool PedalSensor::checkShortCircuit() const
// {
//     bool isShortCircuit = analogRead(inputPin) > scThreshold;
//     digitalWrite(scLedPin, isShortCircuit);
// #ifdef DEBUGGING
//     printf("Pedal %d: Short Circuit %s\n", inputPin, isShortCircuit ? "detected" : "not detected");
// #endif
//     return isShortCircuit;
// }

// // Checks both faults for a pedal
// bool PedalSensor::checkRangeFaults() const
// {
//     return checkOpenCircuit() || checkShortCircuit();
// }

// // if sensors disagree b y more than 10% for >100ms, fault.
// bool pedalAgreementFault(PedalSensor p1, PedalSensor p2)
// {
//     static uint32_t faultTime = 0;
//     if (abs(p1.pedalPercentage() - p2.pedalPercentage()) > 0.1)
//     { // maybe increase if p2 is being really screwy
//         if (faultTime == 0)
//         {
//             faultTime = k_uptime_get() + 100; // time when apps should start faulting
//         }
//         else if (faultTime <= k_uptime_get())
//         {
//             return true;
//         }
//     }
//     else
//     {
//         faultTime = 0;
//     }
//     return false;
// }

// bool brakeFault(PedalSensor p1, PedalSensor p2)
// {
//     static bool brakeFault = false;
//     float avgPedal = p1.pedalPercentage() + p2.pedalPercentage() / 2;
//     // float avgPedal = p2.pedalPercentage();
//     if (avgPedal > .25 && digitalRead(brake_switch_pin))
//     {
//         brakeFault = true;
//     }
//     if (brakeFault && avgPedal < .05)
//     {
//         brakeFault = false;
//     }
//     return brakeFault;
// }

// bool checkAllFaults(PedalSensor p1, PedalSensor p2)
// {
//     bool fault = false;
//     if (p1.checkRangeFaults() || p2.checkRangeFaults())
//     {
//         fault = true;
//     }
//     if (pedalAgreementFault(p1, p2))
//     {
//         fault = true;
// #ifdef DEBUGGING
//         Serial.println("FAULT: Pedal Agreement");
// #endif
//     }
//     if (brakeFault(p1, p2))
//     {
//         fault = true;
// #ifdef DEBUGGING
//         Serial.println("FAULT: Brake fault");
// #endif
//     }
//     return fault;
// }
```
